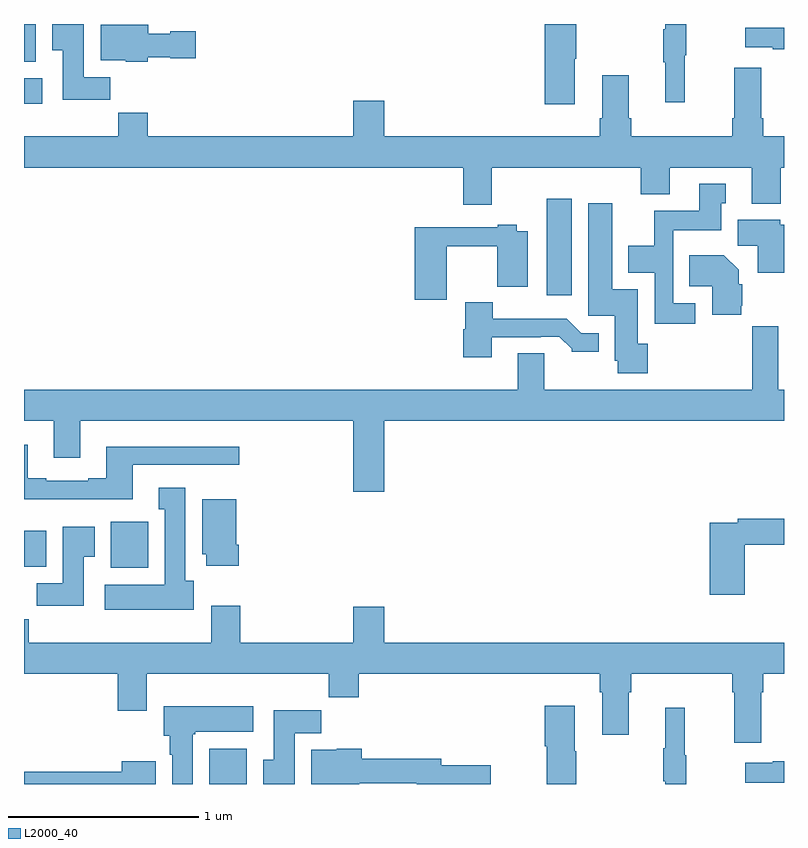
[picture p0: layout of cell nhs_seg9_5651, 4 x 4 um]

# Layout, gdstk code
import gdstk
lib = gdstk.Library(unit=1e-6, precision=1e-09)
def R(c, l, rs):  # rectangles x0, y0, x1, y1
    for r in rs: c.add(gdstk.rectangle(r[:2], r[2:], *l))
def P(c, l, *ps):  # polygons
    for p in ps: c.add(gdstk.Polygon(p, *l))
L2000_40 = (2000, 40)

nhs_seg9_5651 = lib.new_cell('nhs_seg9_5651')
R(nhs_seg9_5651, L2000_40, [(439.976,1202.5,440.173,1202.686), (439.457,1203.638,439.654,1203.88), (439,1203.644,439.117,1203.832), (441.752,1205.073,441.883,1205.581), (439,1206.08,439.096,1206.214), (439,1206.302,439.063,1206.5)])
P(nhs_seg9_5651, L2000_40, [(439.454,1206.22),(439.315,1206.22),(439.315,1206.5),(439.148,1206.5),(439.148,1206.361),(439.205,1206.361),(439.205,1206.102),(439.454,1206.102)],
  [(442.478,1206.336),(442.486,1206.336),(442.486,1206.5),(442.376,1206.5),(442.376,1206.473),(442.365,1206.473),(442.365,1206.299),(442.376,1206.299),(442.376,1206.087),(442.478,1206.087)],
  [(441.898,1206.316),(441.906,1206.316),(441.906,1206.5),(441.74,1206.5),(441.74,1206.078),(441.898,1206.078)],
  [(439.65,1206.326),(439.77,1206.326),(439.77,1206.319),(439.903,1206.319),(439.903,1206.461),(439.77,1206.461),(439.77,1206.448),(439.654,1206.448),(439.654,1206.496),(439.403,1206.496),(439.403,1206.308),(439.536,1206.308),(439.536,1206.302),(439.65,1206.302)],
  [(443,1206.481),(442.797,1206.481),(442.797,1206.377),(442.94,1206.377),(442.94,1206.367),(443,1206.367)],
  [(441.463,1205.744),(442.247,1205.744),(442.247,1205.603),(442.399,1205.603),(442.399,1205.744),(442.829,1205.744),(442.829,1205.555),(442.982,1205.555),(442.982,1205.744),(443,1205.744),(443,1205.908),(442.892,1205.908),(442.892,1206.004),(442.879,1206.004),(442.879,1206.271),(442.739,1206.271),(442.739,1206.004),(442.727,1206.004),(442.727,1205.908),(442.196,1205.908),(442.196,1206.004),(442.183,1206.004),(442.183,1206.229),(442.043,1206.229),(442.043,1206.004),(442.031,1206.004),(442.031,1205.908),(440.896,1205.908),(440.896,1206.097),(440.732,1206.097),(440.732,1205.908),(439.652,1205.908),(439.652,1206.032),(439.495,1206.032),(439.495,1205.908),(439,1205.908),(439,1205.744),(441.311,1205.744),(441.311,1205.55),(441.463,1205.55)],
  [(442.534,1205.031),(442.416,1205.031),(442.416,1205.414),(442.669,1205.414),(442.669,1205.556),(442.693,1205.556),(442.693,1205.659),(442.553,1205.659),(442.553,1205.518),(442.318,1205.518),(442.318,1205.332),(442.181,1205.332),(442.181,1205.192),(442.32,1205.192),(442.32,1204.923),(442.534,1204.923)],
  [(442.283,1204.818),(442.231,1204.818),(442.231,1205.104),(442.096,1205.104),(442.096,1205.557),(441.971,1205.557),(441.971,1204.965),(442.109,1204.965),(442.109,1204.728),(442.126,1204.728),(442.126,1204.662),(442.283,1204.662)],
  [(443,1205.443),(442.98,1205.443),(442.98,1205.47),(442.757,1205.47),(442.757,1205.332),(442.862,1205.332),(442.862,1205.192),(443,1205.192)],
  [(441.226,1205.329),(441.49,1205.329),(441.49,1205.117),(441.652,1205.117),(441.652,1205.41),(441.594,1205.41),(441.594,1205.443),(441.494,1205.443),(441.494,1205.43),(441.056,1205.43),(441.056,1205.049),(441.226,1205.049)],
  [(442.775,1205.016),(442.78,1205.016),(442.78,1205.13),(442.762,1205.13),(442.762,1205.206),(442.684,1205.284),(442.501,1205.284),(442.501,1205.12),(442.622,1205.12),(442.622,1204.97),(442.775,1204.97)],
  [(441.463,1204.851),(441.719,1204.851),(441.719,1204.854),(441.818,1204.854),(441.882,1204.79),(441.882,1204.775),(442.024,1204.775),(442.024,1204.872),(441.933,1204.872),(441.857,1204.948),(441.466,1204.948),(441.466,1205.035),(441.323,1205.035),(441.323,1204.893),(441.311,1204.893),(441.311,1204.746),(441.463,1204.746)],
  [(440.896,1204.412),(443,1204.412),(443,1204.576),(442.97,1204.576),(442.97,1204.909),(442.834,1204.909),(442.834,1204.576),(441.739,1204.576),(441.739,1204.766),(441.599,1204.766),(441.599,1204.576),(439,1204.576),(439,1204.412),(439.157,1204.412),(439.157,1204.218),(439.297,1204.218),(439.297,1204.412),(440.732,1204.412),(440.732,1204.038),(440.896,1204.038)],
  [(439.573,1204.179),(440.134,1204.179),(440.134,1204.276),(439.433,1204.276),(439.433,1204.108),(439.337,1204.108),(439.337,1204.095),(439.117,1204.095),(439.117,1204.108),(439.021,1204.108),(439.021,1204.285),(439,1204.285),(439,1203.998),(439.573,1203.998)],
  [(439.894,1203.57),(439.849,1203.57),(439.849,1204.06),(439.709,1204.06),(439.709,1203.947),(439.742,1203.947),(439.742,1203.55),(439.425,1203.55),(439.425,1203.416),(439.894,1203.416)],
  [(440.129,1203.76),(440.116,1203.76),(440.116,1204),(439.937,1204),(439.937,1203.708),(439.958,1203.708),(439.958,1203.648),(440.129,1203.648)],
  [(442.793,1203.76),(443,1203.76),(443,1203.896),(442.756,1203.896),(442.756,1203.876),(442.61,1203.876),(442.61,1203.495),(442.793,1203.495)],
  [(439.315,1203.697),(439.372,1203.697),(439.372,1203.853),(439.205,1203.853),(439.205,1203.556),(439.066,1203.556),(439.066,1203.438),(439.315,1203.438)],
  [(442.879,1202.984),(442.892,1202.984),(442.892,1203.08),(443,1203.08),(443,1203.244),(440.896,1203.244),(440.896,1203.433),(440.732,1203.433),(440.732,1203.244),(440.138,1203.244),(440.138,1203.439),(439.985,1203.439),(439.985,1203.244),(439.025,1203.244),(439.025,1203.368),(439,1203.368),(439,1203.08),(439.493,1203.08),(439.493,1202.886),(439.645,1202.886),(439.645,1203.08),(440.605,1203.08),(440.605,1202.956),(440.762,1202.956),(440.762,1203.08),(442.031,1203.08),(442.031,1202.984),(442.043,1202.984),(442.043,1202.76),(442.183,1202.76),(442.183,1202.984),(442.196,1202.984),(442.196,1203.08),(442.727,1203.08),(442.727,1202.984),(442.739,1202.984),(442.739,1202.718),(442.879,1202.718)],
  [(441.906,1202.672),(441.898,1202.672),(441.898,1202.911),(441.74,1202.911),(441.74,1202.698),(441.752,1202.698),(441.752,1202.5),(441.906,1202.5)],
  [(439.888,1202.761),(439.902,1202.761),(439.902,1202.774),(440.206,1202.774),(440.206,1202.908),(439.736,1202.908),(439.736,1202.754),(439.766,1202.754),(439.766,1202.654),(439.781,1202.654),(439.781,1202.5),(439.888,1202.5)],
  [(442.486,1202.652),(442.478,1202.652),(442.478,1202.902),(442.376,1202.902),(442.376,1202.689),(442.365,1202.689),(442.365,1202.515),(442.376,1202.515),(442.376,1202.5),(442.486,1202.5)],
  [(440.425,1202.768),(440.564,1202.768),(440.564,1202.887),(440.315,1202.887),(440.315,1202.628),(440.258,1202.628),(440.258,1202.5),(440.425,1202.5)],
  [(440.764,1202.503),(441.068,1202.503),(441.068,1202.5),(441.457,1202.5),(441.457,1202.598),(441.196,1202.598),(441.196,1202.632),(440.777,1202.632),(440.777,1202.686),(440.646,1202.686),(440.646,1202.68),(440.513,1202.68),(440.513,1202.5),(440.764,1202.5)],
  [(443,1202.621),(442.94,1202.621),(442.94,1202.611),(442.797,1202.611),(442.797,1202.507),(443,1202.507)],
  [(439.693,1202.62),(439.514,1202.62),(439.514,1202.564),(439,1202.564),(439,1202.5),(439.693,1202.5)])

lib.write_gds('nhs_seg9_5651.gds')
